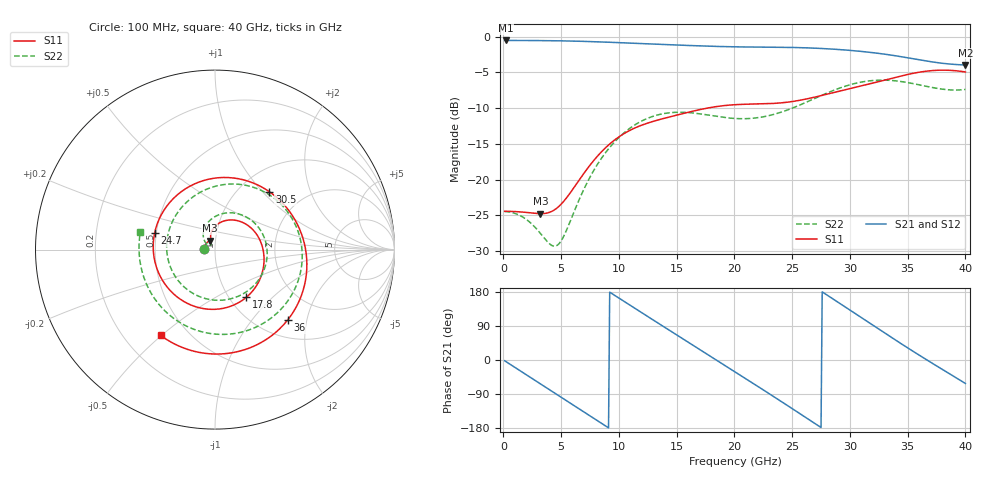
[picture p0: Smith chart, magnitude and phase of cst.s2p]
! B_s8_L1L3_bd_d300: L1→L3, back-drilled to 0.2 mm below L3, drill Ø0.3
! stackup: 8-layer 1.6 mm FR-4 (generic)
! ports: 1, 2
! CST Studio Suite 2025.5 Release from 2025-05-30, time domain (FIT, hexahedral, PBA), 154800 mesh cells, 34 s
! mesh: {'lpw': 20, 'lpb': 20, 'minstep': 0.0, 'ratio': 20}; ports: port 1 (face); port 2 (face)
! interpolated from CST's 1001 samples to the case grid
# Hz S RI R 50
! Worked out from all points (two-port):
!   400 points, 100 MHz to 40 GHz, reference 50 ohm
!   highest |S21| = -0.55 dB at 200 MHz (marker M1); lowest = -4.0 dB at 40 GHz (marker M2)
!   |S21| within 3 dB of the highest: start of sweep to 37.13 GHz
!   lowest |S11| = -24.8 dB at 3.2 GHz (marker M3), VSWR 1.12, Z = 47 + j4.77 ohm
!   |S11| at or under -10 dB: start of sweep to 17.64 GHz
!   |S22| runs from -29.3 to -6.1 dB; largest |S21 - S12| = 7.2e-06
!   S11 on the Smith chart (normalised r, x): 100 MHz: 0.89, +0.00; 17.8 GHz: 1.20, -0.71; 24.7 GHz: 0.49, +0.10; 30.5 GHz: 1.36, +1.09; 36 GHz: 1.35, -1.55; 40 GHz: 0.35, -0.50
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1e8  -0.0601 0.00252  0.9386 -0.0322  0.9386 -0.0322  -0.0599 0.00232
2e8  -0.0599 0.00504  0.9369 -0.0644  0.9369 -0.0644  -0.0597 0.00463
1.6e9  -0.0478 0.0353  0.8008 -0.4899  0.8008 -0.4899  -0.0457 0.031
3.2e9  -0.0281 0.0506  0.4263 -0.8348  0.4263 -0.8348  -0.023 0.0353
4.8e9  -0.0236 0.0606  -0.073 -0.9311  -0.073 -0.9311  -0.0255 0.0248
6.8e9  -0.0169 0.1047  -0.6422 -0.6675  -0.6422 -0.6675  -0.0603 0.0531
8.4e9  0.0297 0.1511  -0.8875 -0.2321  -0.8875 -0.2321  -0.0551 0.1263
9.9e9  0.1081 0.1642  -0.8777 0.2306  -0.8777 0.2306  0.0182 0.1928
1.18e10  0.2085 0.1135  -0.5534 0.7024  -0.5534 0.7024  0.1775 0.18
1.34e10  0.2599 0.029  -0.1099 0.8764  -0.1099 0.8764  0.2787 0.0548
1.54e10  0.2693 -0.1018  0.4558 0.7412  0.4558 0.7412  0.2475 -0.1621
1.78e10  0.1749 -0.2655  0.8373 0.1791  0.8373 0.1791  0.00455 -0.2821
2.01e10  -0.043 -0.3315  0.7164 -0.4526  0.7164 -0.4526  -0.2165 -0.1571
2.25e10  -0.2822 -0.1873  0.1624 -0.8277  0.1624 -0.8277  -0.2621 0.0834
2.47e10  -0.3364 0.0921  -0.4483 -0.7103  -0.4483 -0.7103  -0.1538 0.2682
2.67e10  -0.1889 0.3219  -0.7913 -0.2549  -0.7913 -0.2549  0.0346 0.3601
2.85e10  0.0464 0.4018  -0.7761 0.2558  -0.7761 0.2558  0.2552 0.3311
3.05e10  0.3033 0.3222  -0.4159 0.6766  -0.4159 0.6766  0.4568 0.1173
3.34e10  0.5058 -0.00551  0.3326 0.6672  0.3326 0.6672  0.3451 -0.3543
3.6e10  0.4055 -0.3914  0.6712 0.1518  0.6712 0.1518  -0.1108 -0.4464
3.81e10  0.0707 -0.5782  0.5806 -0.2902  0.5806 -0.2902  -0.3768 -0.203
4e10  -0.3019 -0.4783  0.2983 -0.5583  0.2983 -0.5583  -0.4164 0.0958
